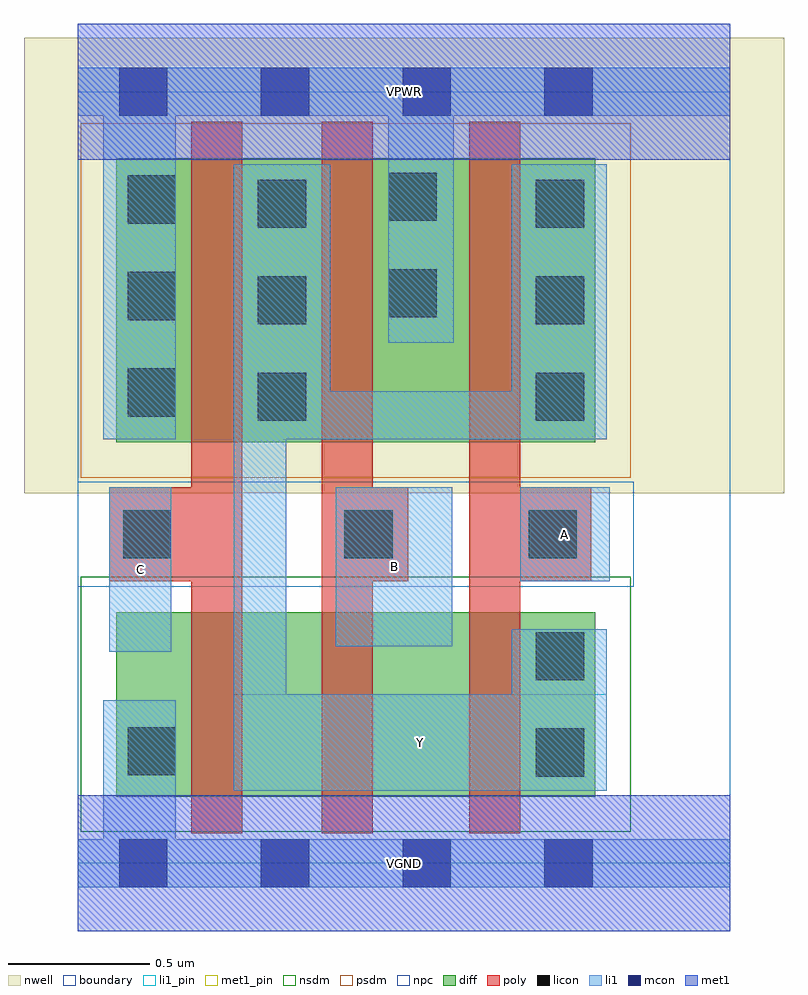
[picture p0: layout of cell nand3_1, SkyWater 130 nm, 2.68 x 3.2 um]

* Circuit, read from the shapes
.subckt nand3_1 A B C VGND VPWR Y
XM1 n1 C VGND VSUBS sky130_fd_pr__nfet_01v8 w=0.65 l=0.18
XM2 n2 B n1 VSUBS sky130_fd_pr__nfet_01v8 w=0.65 l=0.18
XM3 Y A n2 VSUBS sky130_fd_pr__nfet_01v8 w=0.65 l=0.18
XM4 Y C VPWR n3 sky130_fd_pr__pfet_01v8 w=1 l=0.18
XM5 VPWR B Y n3 sky130_fd_pr__pfet_01v8 w=1 l=0.18
XM6 Y A VPWR n3 sky130_fd_pr__pfet_01v8 w=1 l=0.18
.ends

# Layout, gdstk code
import gdstk
lib = gdstk.Library(unit=1e-6, precision=1e-09)
def R(c, l, rs):  # rectangles x0, y0, x1, y1
    for r in rs: c.add(gdstk.rectangle(r[:2], r[2:], *l))
def A(c, l, x, y, w, h, nx, ny, dx, dy):  # array of equal rectangles
    R(c, l, [(x+i*dx, y+j*dy, x+i*dx+w, y+j*dy+h) for i in range(nx) for j in range(ny)])
nwell = (64, 20)
diff = (65, 20)
poly = (66, 20)
licon = (66, 44)
li1_pin = (67, 16)
li1 = (67, 20)
mcon = (67, 44)
met1_pin = (68, 16)
met1 = (68, 20)
nsdm = (93, 44)
psdm = (94, 20)
npc = (95, 20)
boundary = (235, 4)

nand3_1 = lib.new_cell('nand3_1')
R(nand3_1, nwell, [(-0.19,1.305,2.49,2.91), (0,1.305,2.3,2.91)])
R(nand3_1, diff, [(0.135,0.235,1.825,0.885), (0.135,1.485,1.825,2.485)])
R(nand3_1, poly, [(0.4,0.105,0.58,2.615), (0.86,0.105,1.04,2.615), (1.38,0.105,1.56,2.615), (0.11,0.995,0.58,1.325), (0.86,0.995,1.165,1.325), (1.38,0.995,1.81,1.325)])
A(nand3_1, licon, 0.635, 1.56, 0.17, 0.17, 1, 3, 0, 0.34)
A(nand3_1, licon, 1.615, 1.56, 0.17, 0.17, 1, 3, 0, 0.34)
A(nand3_1, licon, 0.175, 1.575, 0.17, 0.17, 1, 3, 0, 0.34)
R(nand3_1, licon, [(1.615,0.305,1.785,0.475), (0.175,0.31,0.345,0.48), (1.615,0.645,1.785,0.815), (0.16,1.075,0.33,1.245), (0.94,1.075,1.11,1.245), (1.59,1.075,1.76,1.245), (1.095,1.925,1.265,2.095), (1.095,2.265,1.265,2.435)])
R(nand3_1, li1_pin, [(0.55,0.255,1.865,0.595), (0.11,0.745,0.33,1.325), (0.91,0.765,1.32,1.325), (1.56,0.995,1.875,1.325)])
R(nand3_1, li1, [(0,-0.085,2.3,0.085), (0.09,-0.085,0.345,0.575), (0.55,0.255,1.865,0.595), (0.55,0.255,0.735,2.465), (1.53,0.255,1.865,0.825), (0.11,0.745,0.33,1.325), (0.91,0.765,1.32,1.325), (1.56,0.995,1.875,1.325), (0.09,1.495,0.345,2.805), (0.55,1.495,0.89,2.465), (0.55,1.495,1.865,1.665), (1.53,1.495,1.865,2.465), (1.095,1.835,1.325,2.805), (0,2.635,2.3,2.805)])
A(nand3_1, mcon, 0.145, -0.085, 0.17, 0.17, 4, 2, 0.5, 2.72)
R(nand3_1, met1_pin, [(0,-0.24,2.3,0.24), (0,2.48,2.3,2.96)])
R(nand3_1, met1, [(0,-0.24,2.3,0.24), (0,2.48,2.3,2.96)])
R(nand3_1, nsdm, [(0.01,0.11,1.95,1.01)])
R(nand3_1, psdm, [(0.01,1.36,1.95,2.61)])
R(nand3_1, npc, [(0,0.975,1.96,1.345)])
R(nand3_1, boundary, [(0,0,2.3,2.72)])
nand3_1.add(gdstk.Label('A', (1.717,1.16), layer=67, texttype=5))
nand3_1.add(gdstk.Label('B', (1.115,1.045), layer=67, texttype=5))
nand3_1.add(gdstk.Label('C', (0.22,1.035), layer=67, texttype=5))
nand3_1.add(gdstk.Label('Y', (1.207,0.425), layer=67, texttype=5))
nand3_1.add(gdstk.Label('VPWR', (1.15,2.72), layer=68, texttype=5))
nand3_1.add(gdstk.Label('VGND', (1.15,0), layer=68, texttype=5))
nand3_1.add(gdstk.Label('A', (1.717,1.16), layer=67, texttype=16))
nand3_1.add(gdstk.Label('B', (1.115,1.045), layer=67, texttype=16))
nand3_1.add(gdstk.Label('C', (0.22,1.035), layer=67, texttype=16))
nand3_1.add(gdstk.Label('Y', (1.207,0.425), layer=67, texttype=16))
nand3_1.add(gdstk.Label('VPWR', (1.15,2.72), layer=68, texttype=16))
nand3_1.add(gdstk.Label('VGND', (1.15,0), layer=68, texttype=16))

lib.write_gds('nand3_1.gds')
